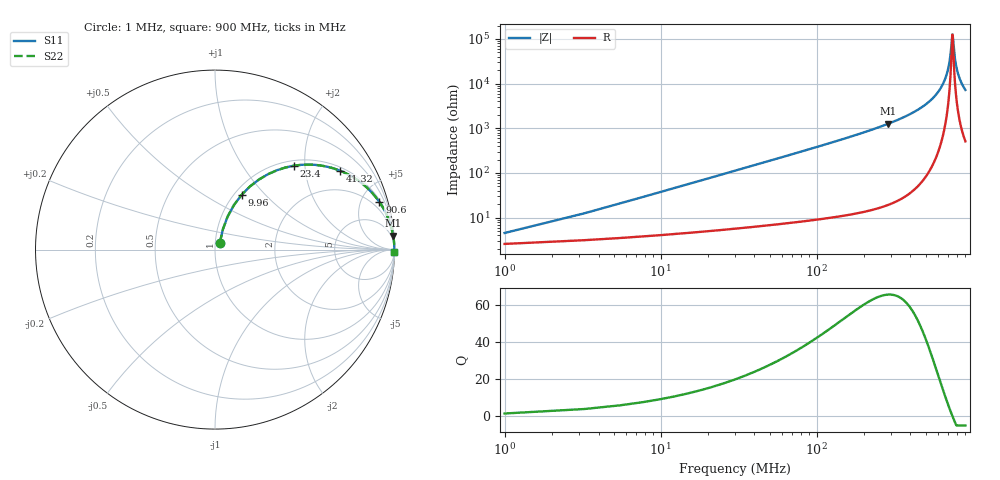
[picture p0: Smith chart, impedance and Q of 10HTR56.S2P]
! Coilcraft 1008HT-R56 Chip Inductor
! 16 July 2002
# MHZ S MA R 50
!Freq  MagS11  AngS11  MagS21  AngS21  MagS12  AngS12  MagS22  AngS22
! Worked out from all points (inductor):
!   403 points, 1 MHz to 900 MHz, reference 50 ohm
!   read as one part in series: L = 595 nH near 5.48 MHz
!   highest Q = 65.6 at 287.7 MHz (marker M1), where L = 700 nH
!   self-resonance near 742.4 MHz
!   S11 on the Smith chart (normalised r, x): 1 MHz: 1.05, +0.07; 9.96 MHz: 1.08, +0.74; 23.4 MHz: 1.10, +1.75; 41.32 MHz: 1.13, +3.10; 90.6 MHz: 1.17, +6.88; 900 MHz: open
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1  0.04428 53.3  0.9742 -2.1  0.9742 -2.1  0.04428 53.3
7.72  0.2702 67.0  0.9281 -15.5  0.9281 -15.5  0.2702 67.0
9.96  0.339 64.1  0.9048 -19.7  0.9048 -19.7  0.339 64.1
16.68  0.5133 54.9  0.8205 -30.8  0.8205 -30.8  0.5133 54.9
23.4  0.6408 46.8  0.7305 -39.8  0.7305 -39.8  0.6408 46.8
41.32  0.8252 32.1  0.5321 -55.5  0.5321 -55.5  0.8252 32.1
61.48  0.9076 23.1  0.392 -65.1  0.392 -65.1  0.9076 23.1
90.6  0.9538 16.1  0.2773 -72.5  0.2773 -72.5  0.9538 16.1
151.08  0.9828 9.6  0.1668 -79.3  0.1668 -79.3  0.9828 9.6
287.72  0.9957 4.5  0.0787 -84.6  0.0787 -84.6  0.9957 4.5
301.16  0.9961 4.2  0.07396 -84.9  0.07396 -84.9  0.9961 4.2
451.24  0.9986 2.1  0.0374 -86.7  0.0374 -86.7  0.9986 2.1
601.32  0.9992 0.9  0.0154 -86.5  0.0154 -86.5  0.9992 0.9
684.2  0.9992 0.3  0.006038 -82.7  0.006038 -82.7  0.9992 0.3
715.56  0.9992 0.2  0.002868 -74.5  0.002868 -74.5  0.9992 0.2
740.2  0.9992 0.0  0.0008489 -23.0  0.0008489 -23.0  0.9992 0.0
744.68  0.9992 -0.0  0.0007921 7.4  0.0007921 7.4  0.9992 -0.0
751.4  0.9992 -0.0  0.001089 43.3  0.001089 43.3  0.9992 -0.0
771.56  0.9992 -0.2  0.002772 72.8  0.002772 72.8  0.9992 -0.2
798.44  0.9991 -0.3  0.005184 80.3  0.005184 80.3  0.9991 -0.3
841  0.9991 -0.5  0.008908 83.7  0.008908 83.7  0.9991 -0.5
900  0.9989 -0.8  0.01383 85.1  0.01383 85.1  0.9989 -0.8
